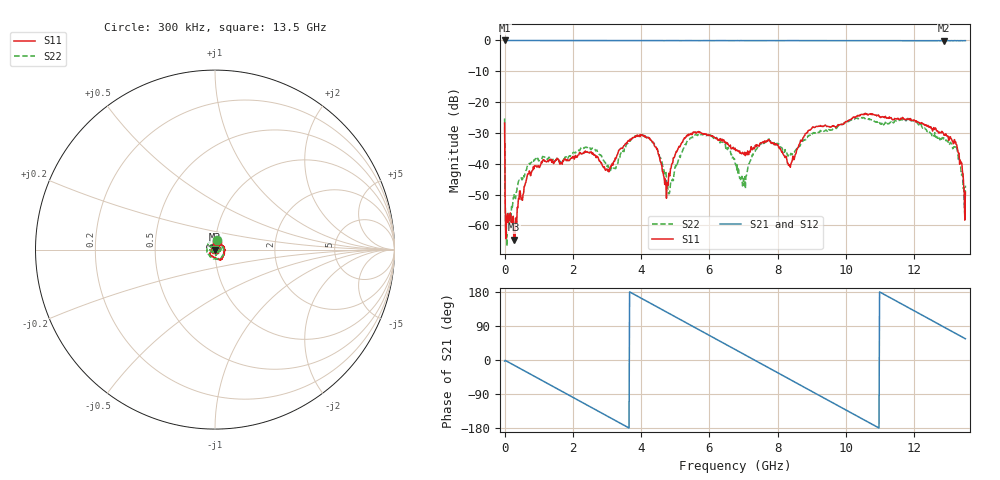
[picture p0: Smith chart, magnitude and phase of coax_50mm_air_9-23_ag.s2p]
!Agilent Technologies,N5230C,MY48100320,A.08.04.10
!Agilent N5230C: A.08.04.10
!Date: Friday, September 23, 2016 16:38:28
!Correction: S11(Full 2 Port(1,2))
!S21(Full 2 Port(1,2))
!S12(Full 2 Port(1,2))
!S22(Full 2 Port(1,2))
!S2P File: Measurements: S11, S21, S12, S22:
# Hz S  dB  R 50
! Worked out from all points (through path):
!   801 points, 300 kHz to 13.5 GHz, reference 50 ohm
!   highest |S21| = 0.01 dB at 17.17 MHz (marker M1); lowest = -0.1 dB at 12.86 GHz (marker M2)
!   group delay of S21, straight-line fit = 137 ps
!   lowest |S11| = -64.6 dB at 270.3 MHz (marker M3), VSWR 1.00, Z = 50 + j0.0523 ohm
!   |S11| at or under -10 dB: start of sweep to end of sweep
!   |S22| runs from -66.8 to -24.9 dB; largest |S21 - S12| = 0.0055
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300000  -26.89 78.2  -0.07 -2.8  -0.07 -2.8  -25.35 77.0
1.717462e7  -53.17 121.2  0.01 -1.0  0.00 -1.0  -51.78 92.8
1.015478e8  -59.52 21.8  -0.01 -5.1  -0.01 -5.1  -57.35 55.6
2.70294e8  -64.63 63.0  -0.01 -13.4  -0.01 -13.4  -50.73 26.4
8.609059e8  -41.67 103.9  -0.03 -42.4  -0.03 -42.4  -38.74 -13.6
2.2615e9  -36.80 -78.2  -0.04 -111.4  -0.03 -111.3  -34.77 44.9
3.020858e9  -42.38 150.9  -0.04 -148.7  -0.05 -148.7  -40.45 62.8
3.408974e9  -34.94 64.1  -0.04 -167.8  -0.04 -167.8  -36.52 139.8
4.016461e9  -30.64 6.9  -0.04 162.4  -0.04 162.3  -30.66 142.2
4.505825e9  -36.98 -32.8  -0.04 138.2  -0.05 138.3  -36.10 141.2
4.826443e9  -43.71 177.8  -0.04 122.5  -0.06 122.5  -49.70 -152.0
5.602676e9  -30.03 77.3  -0.04 84.3  -0.05 84.4  -30.59 -80.4
6.75015e9  -34.94 -78.4  -0.04 27.9  -0.05 27.9  -39.75 -69.8
6.986395e9  -36.54 -130.1  -0.05 16.3  -0.06 16.3  -46.95 -4.1
7.543257e9  -33.13 140.5  -0.05 -11.0  -0.05 -11.0  -33.26 42.7
8.353239e9  -40.57 155.7  -0.04 -51.0  -0.04 -50.9  -37.07 -58.3
9.01135e9  -28.32 -140.0  -0.05 -83.4  -0.06 -83.3  -30.18 172.0
1.027695e10  -25.06 -70.5  -0.07 -145.5  -0.07 -145.5  -25.29 -31.7
1.125567e10  -25.28 -25.0  -0.07 166.4  -0.07 166.5  -27.00 176.8
1.285876e10  -30.17 73.1  -0.09 87.6  -0.06 87.7  -31.95 -81.0
1.324688e10  -33.90 92.6  -0.06 68.5  -0.09 68.6  -35.03 -124.2
1.35e10  -49.18 -101.9  -0.07 56.0  -0.06 56.1  -47.10 80.2
